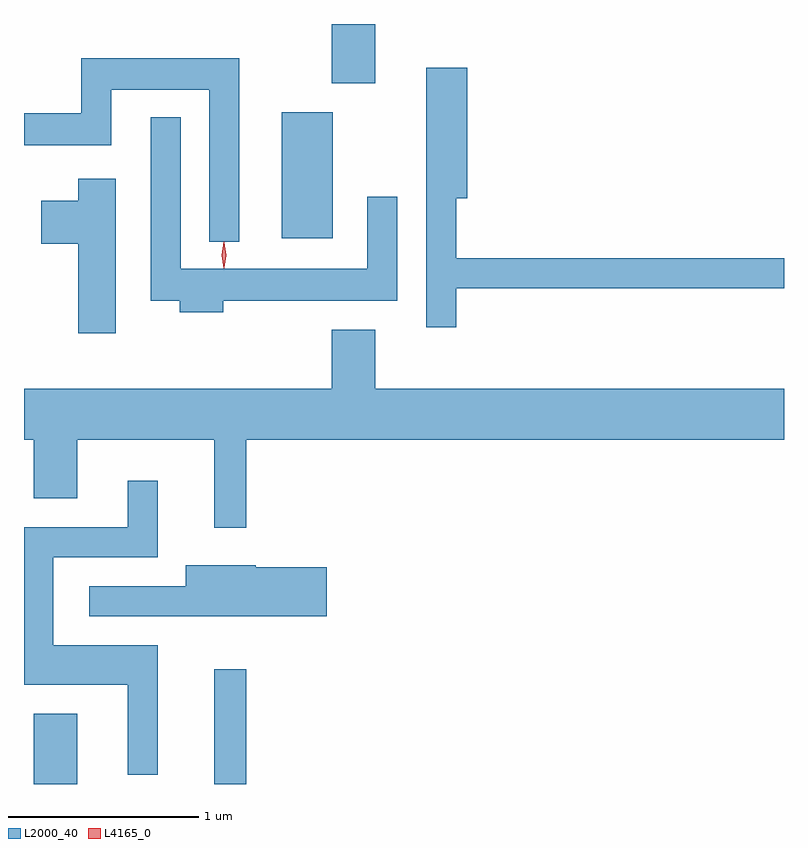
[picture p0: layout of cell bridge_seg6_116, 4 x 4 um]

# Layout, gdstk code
import gdstk
lib = gdstk.Library(unit=1e-6, precision=1e-09)
def R(c, l, rs):  # rectangles x0, y0, x1, y1
    for r in rs: c.add(gdstk.rectangle(r[:2], r[2:], *l))
def P(c, l, *ps):  # polygons
    for p in ps: c.add(gdstk.Polygon(p, *l))
L2000_40 = (2000, 40)
L4165_0 = (4165, 0)

bridge_seg6_116 = lib.new_cell('bridge_seg6_116')
R(bridge_seg6_116, L2000_40, [(1049.781,1603.723,1050.009,1604.094), (1050.731,1603.723,1050.899,1604.328), (1051.086,1606.596,1051.354,1607.259), (1051.351,1607.411,1051.579,1607.723)])
P(bridge_seg6_116, L2000_40, [(1050.864,1607.544),(1050.031,1607.544),(1050.031,1607.254),(1049.73,1607.254),(1049.73,1607.086),(1050.189,1607.086),(1050.189,1607.376),(1050.706,1607.376),(1050.706,1606.578),(1050.864,1606.578)],
  [(1052.004,1606.331),(1053.73,1606.331),(1053.73,1606.489),(1052.004,1606.489),(1052.004,1606.806),(1052.064,1606.806),(1052.064,1607.494),(1051.846,1607.494),(1051.846,1606.128),(1052.004,1606.128)],
  [(1050.779,1606.266),(1051.694,1606.266),(1051.694,1606.813),(1051.536,1606.813),(1051.536,1606.434),(1050.554,1606.434),(1050.554,1607.233),(1050.396,1607.233),(1050.396,1606.266),(1050.551,1606.266),(1050.551,1606.206),(1050.779,1606.206)],
  [(1050.214,1606.909),(1050.016,1606.909),(1050.016,1606.794),(1049.821,1606.794),(1049.821,1606.566),(1050.016,1606.566),(1050.016,1606.096),(1050.214,1606.096)],
  [(1050.899,1605.536),(1053.73,1605.536),(1053.73,1605.804),(1051.579,1605.804),(1051.579,1606.114),(1051.351,1606.114),(1051.351,1605.804),(1049.73,1605.804),(1049.73,1605.536),(1049.781,1605.536),(1049.781,1605.226),(1050.009,1605.226),(1050.009,1605.536),(1050.731,1605.536),(1050.731,1605.073),(1050.899,1605.073)],
  [(1050.434,1604.454),(1049.884,1604.454),(1049.884,1604.916),(1050.434,1604.916),(1050.434,1605.318),(1050.276,1605.318),(1050.276,1605.074),(1049.73,1605.074),(1049.73,1604.246),(1050.276,1604.246),(1050.276,1603.773),(1050.434,1603.773)],
  [(1051.324,1604.864),(1050.95,1604.864),(1050.95,1604.874),(1050.581,1604.874),(1050.581,1604.764),(1050.073,1604.764),(1050.073,1604.606),(1051.324,1604.606)])
P(bridge_seg6_116, L4165_0, [(1050.782,1606.437),(1050.782,1606.437),(1050.772,1606.507),(1050.782,1606.576),(1050.782,1606.576),(1050.783,1606.576),(1050.792,1606.507),(1050.783,1606.437)],
  [(1050.784,1606.439),(1050.784,1606.44),(1050.774,1606.506),(1050.784,1606.572),(1050.784,1606.573),(1050.785,1606.572),(1050.794,1606.506),(1050.785,1606.44)])

lib.write_gds('bridge_seg6_116.gds')
